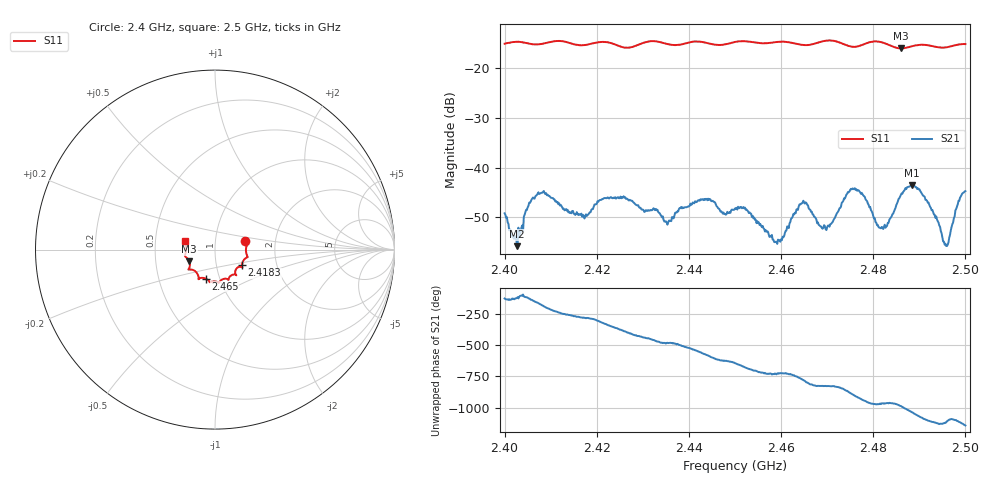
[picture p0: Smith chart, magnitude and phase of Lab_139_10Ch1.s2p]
# Hz S RI R 50
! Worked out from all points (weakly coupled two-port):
!   601 points, 2.4 GHz to 2.5 GHz, reference 50 ohm
!   highest |S21| = -43.51 dB at 2.4883 GHz (marker M1); lowest = -55.8 dB at 2.4027 GHz (marker M2)
!   lowest |S11| = -16.1 dB at 2.486 GHz (marker M3), VSWR 1.37, Z = 37.2 - j4.94 ohm
!   |S11| at or under -10 dB: start of sweep to end of sweep
!   S12 and S22 are empty: the file has one direction only
!   S11 on the Smith chart (normalised r, x): 2.4 GHz: 1.40, +0.13; 2.4183 GHz: 1.33, -0.24; 2.465 GHz: 0.86, -0.29; 2.5 GHz: 0.71, +0.07
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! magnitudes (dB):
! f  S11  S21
! 2.4 GHz  -15.1  -49.2
! 2.4027 GHz  -14.8  -55.8
! 2.4077 GHz  -15.2  -45.2
! 2.4167 GHz  -15.4  -49.3
! 2.4183 GHz  -15.2  -49.2
! 2.4257 GHz  -15.8  -46.1
! 2.4333 GHz  -14.7  -48.9
! 2.4357 GHz  -15.3  -50.7
! 2.4433 GHz  -14.9  -46.3
! 2.45 GHz  -14.8  -48.2
! 2.459 GHz  -14.8  -54.9
! 2.465 GHz  -15.4  -47.1
! 2.4667 GHz  -15.3  -48.9
! 2.4702 GHz  -14.5  -51.7
! 2.4758 GHz  -15.7  -44.4
! 2.4812 GHz  -14.7  -52.0
! 2.4833 GHz  -15.3  -51.1
! 2.486 GHz  -16.1  -45.5
! 2.4883 GHz  -15.6  -43.5
! 2.492 GHz  -15.4  -47.0
! 2.4958 GHz  -15.8  -55.7
! 2.5 GHz  -15.2  -44.7
